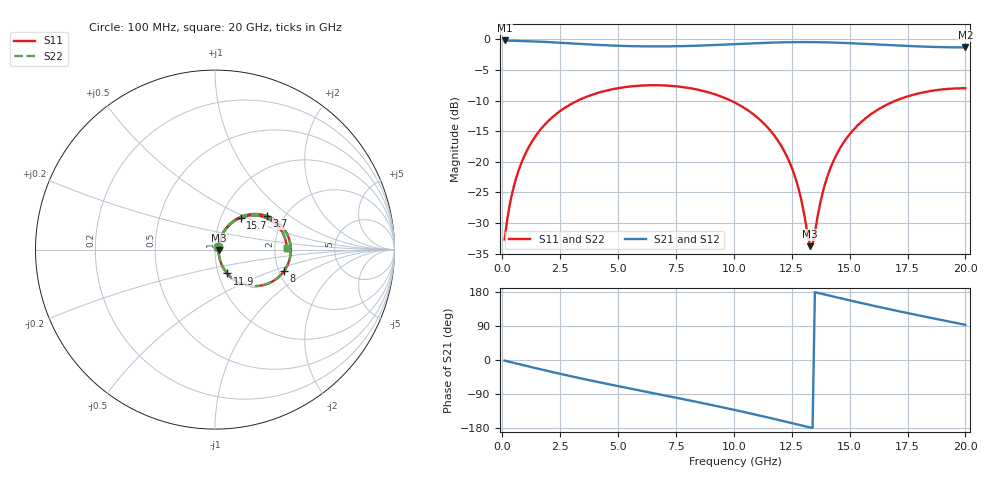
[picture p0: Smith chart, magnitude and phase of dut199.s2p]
! Touchstone file exported from HFSS 2026.1.0
!  File:  C:/ffzhzh/LocalFiles/Ansys_Project_Files/temp_train_TSV_RDL_199_1783060149_45820.aedt
!  Generated:  02:41:44 PM Jul  3, 2026
!  Design:  TSV_RDL
!  Project:  temp_train_TSV_RDL_199_1783060149_45820
! Variables:
!  h_bsmrdl = 5.88um
!  h_ox = 20um
!  h_rdl = 5um
!  h_sub = 62.55um
!  h_tmrdl = 3.81um
!  h_tsv = 62.55um
!  h_via = 3um
!  l_bsmrdl = 839.56um
!  l_sub = 4661.58um
!  l_tmrdl = 391.43um
!  m_sub = 200um
!  pitch = 48.43um
!  r_tsv = 2.46um
!  s_tmrdl = 10um
!  w_bsmrdl = 29.75um
!  w_sub = 500um
!  w_tmrdl = 29.31um
!  x_tsv_center1 = 406.085um
!  x_tsv_center2 = 1275.395um
!  x_tsv_center3 = 1696.135um
!  x_tsv_center4 = 2565.445um
!  x_tsv_center5 = 2986.185um
!  x_tsv_center6 = 3855.495um
# GHz S MA R 50.000000
! Terminal data exported
! Port[1] = TM_RDL1_1_T1
! Port[2] = TM_RDL5_1_T1
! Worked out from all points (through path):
!   200 points, 100 MHz to 20 GHz, reference 50 ohm
!   highest |S21| = -0.17 dB at 100 MHz (marker M1); lowest = -1.3 dB at 20 GHz (marker M2)
!   group delay of S21, straight-line fit = 37 ps
!   lowest |S11| = -33.8 dB at 13.3 GHz (marker M3), VSWR 1.04, Z = 52 - j0.414 ohm
!   |S11| at or under -10 dB: start of sweep to 3.258 GHz; 9.869 GHz to 17 GHz (7.127 GHz wide, 53.1 % of centre)
!   |S22| runs from -33.6 to -7.5 dB; largest |S21 - S12| = 2.1e-14
!   S11 on the Smith chart (normalised r, x): 100 MHz: 1.04, +0.03; 3.7 GHz: 1.63, +0.69; 8 GHz: 2.13, -0.61; 11.9 GHz: 1.10, -0.30; 15.7 GHz: 1.24, +0.46; 20 GHz: 2.33, +0.05
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0.1  0.02317 32.8  0.9808 -1.6  0.9808 -1.6  0.02317 32.8
! Gamma 0 0 0 0
! Port Impedance 50 0 50 0
0.3  0.04224 55.5  0.9783 -4.6  0.9783 -4.6  0.04224 55.5
0.5  0.06304 62.0  0.9764 -7.6  0.9764 -7.6  0.06304 62.0
1.2  0.1378 62.2  0.9672 -18.0  0.9672 -18.0  0.1378 62.2
2.2  0.2347 51.5  0.9465 -32.3  0.9465 -32.3  0.2347 51.5
3.5  0.3316 35.5  0.9155 -49.9  0.9155 -49.9  0.3316 35.5
3.7  0.3434 33.0  0.9111 -52.5  0.9111 -52.5  0.3434 33.1
5.2  0.405 15.1  0.8851 -71.4  0.8851 -71.4  0.405 15.1
6.8  0.4219 -3.5  0.8765 -90.9  0.8765 -90.9  0.4219 -3.4
8  0.4025 -17.4  0.8838 -105.6  0.8838 -105.6  0.4024 -17.4
10.1  0.3008 -42.6  0.9168 -132.7  0.9168 -132.7  0.3008 -42.5
11.9  0.1492 -63.0  0.9451 -157.8  0.9451 -157.8  0.1492 -62.9
12.7  0.06969 -65.3  0.9507 -169.4  0.9507 -169.4  0.06975 -65.0
13.3  0.02044 -11.2  0.9507 -178.1  0.9507 -178.1  0.02078 -10.9
13.4  0.02118 16.6  0.9504 -179.6  0.9504 -179.6  0.02152 16.4
13.8  0.05247 59.9  0.9479 174.6  0.9479 174.6  0.05264 59.6
14.2  0.09159 64.1  0.944 168.8  0.944 168.8  0.0917 63.9
14.8  0.1493 60.8  0.9356 160.2  0.9356 160.2  0.1494 60.6
15.7  0.2276 51.3  0.9191 147.6  0.9191 147.6  0.2277 51.2
16.7  0.2988 39.5  0.8988 134.2  0.8988 134.2  0.2988 39.5
18.3  0.3732 20.8  0.8719 113.8  0.8719 113.8  0.3732 20.7
20  0.3989 1.3  0.8608 92.9  0.8608 92.9  0.3989 1.3
